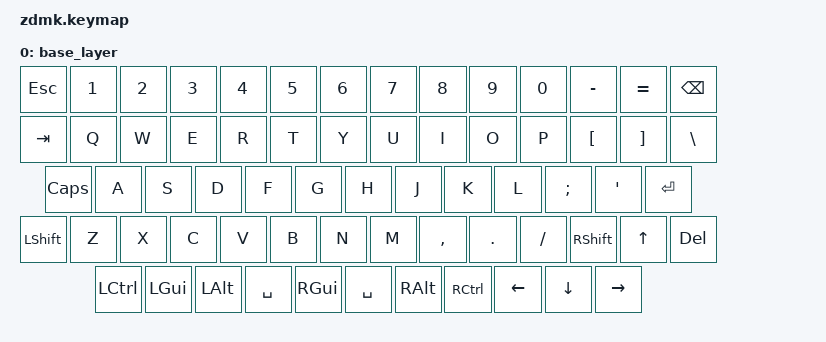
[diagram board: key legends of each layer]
/*
 * Copyright (c) 2020 The ZMK Contributors
 *
 * SPDX-License-Identifier: MIT
 */

#include <behaviors.dtsi>
#include <dt-bindings/zmk/keys.h>
#include <dt-bindings/zmk/bt.h>


&mt {
  flavor = "tap-preferred";
  tapping_term_ms = <200>;
};

/ { 
#define BASE 0

combos {
    compatible = "zmk,combos";
    
    combo_caps {
        layers = <0>;
        timeout-ms = <50>;
        key-positions = <14 15>;
        bindings = <&caps_word>;
    };
    

    
};



        keymap {
                compatible = "zmk,keymap";
                
       		base_layer {
		        bindings = <              
		&kp ESC   &kp N1    &kp N2    &kp N3     &kp N4    &kp N5  &kp N6           &kp N7  &kp N8  &kp N9  &kp N0  &kp MINUS  &kp EQUAL &kp BSPC
		&kp TAB   &kp Q     &kp W     &kp E      &kp R     &kp T              &kp Y   &kp U   &kp I   &kp O   &kp P   &kp LBKT  &kp RBKT &kp BSLH
		&kp CAPS  &kp A     &kp S     &kp D      &kp F     &kp G                     &kp H   &kp J   &kp K      &kp L   &kp SEMI  &kp APOS  &kp ENTER
		&kp LSHFT &kp Z     &kp X     &kp C      &kp V     &kp B                     &kp N   &kp M   &kp COMMA  &kp DOT &kp FSLH  &kp RSHFT &kp UP &kp DEL
		&kp LCTRL &kp LGUI  &kp LALT  &kp SPACE  &kp RGUI                          &kp SPACE   &kp RALT  &kp RCTRL &kp LEFT &kp DOWN  &kp RIGHT
		        >;
		};
        
	};
};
